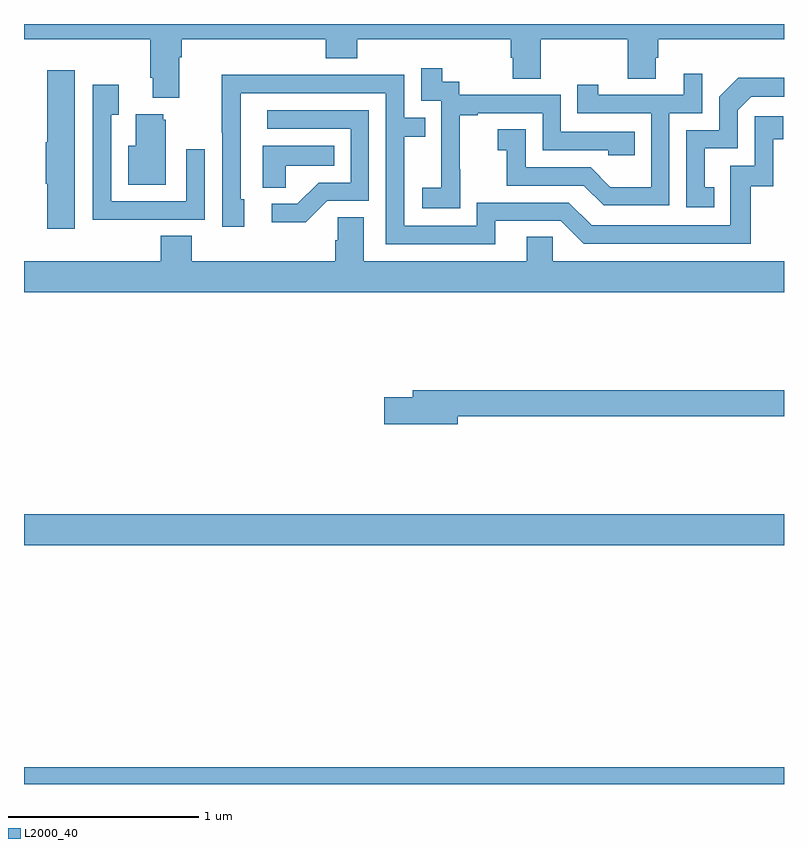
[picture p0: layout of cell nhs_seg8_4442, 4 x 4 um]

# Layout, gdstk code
import gdstk
lib = gdstk.Library(unit=1e-6, precision=1e-09)
def R(c, l, rs):  # rectangles x0, y0, x1, y1
    for r in rs: c.add(gdstk.rectangle(r[:2], r[2:], *l))
def P(c, l, *ps):  # polygons
    for p in ps: c.add(gdstk.Polygon(p, *l))
L2000_40 = (2000, 40)

nhs_seg8_4442 = lib.new_cell('nhs_seg8_4442')
R(nhs_seg8_4442, L2000_40, [(381,1125.9,385,1125.988), (381,1127.156,385,1127.32)])
P(nhs_seg8_4442, L2000_40, [(381,1129.82),(381.665,1129.82),(381.665,1129.618),(381.677,1129.618),(381.677,1129.511),(381.817,1129.511),(381.817,1129.724),(381.83,1129.724),(381.83,1129.82),(382.589,1129.82),(382.589,1129.721),(382.754,1129.721),(382.754,1129.82),(383.561,1129.82),(383.561,1129.722),(383.573,1129.722),(383.573,1129.612),(383.721,1129.612),(383.721,1129.82),(384.178,1129.82),(384.178,1129.612),(384.325,1129.612),(384.325,1129.722),(384.338,1129.722),(384.338,1129.82),(385,1129.82),(385,1129.9),(381,1129.9)],
  [(383.295,1129.135),(383.294,1129.135),(383.294,1129.419),(383.389,1129.419),(383.389,1129.431),(383.73,1129.431),(383.73,1129.236),(384.075,1129.236),(384.075,1129.209),(384.215,1129.209),(384.215,1129.332),(383.826,1129.332),(383.826,1129.527),(383.292,1129.527),(383.292,1129.596),(383.2,1129.596),(383.2,1129.666),(383.091,1129.666),(383.091,1129.497),(383.196,1129.497),(383.196,1129.268),(383.195,1129.268),(383.195,1129.039),(383.097,1129.039),(383.097,1128.929),(383.295,1128.929)],
  [(381.268,1129.657),(381.122,1129.657),(381.122,1129.277),(381.115,1129.277),(381.115,1129.06),(381.122,1129.06),(381.122,1128.822),(381.268,1128.822)],
  [(384.396,1129.431),(384.57,1129.431),(384.57,1129.639),(384.473,1129.639),(384.473,1129.527),(384.022,1129.527),(384.022,1129.579),(383.911,1129.579),(383.911,1129.431),(384.3,1129.431),(384.3,1129.042),(384.086,1129.042),(383.982,1129.146),(383.64,1129.146),(383.64,1129.345),(383.493,1129.345),(383.493,1129.235),(383.542,1129.235),(383.542,1129.05),(383.945,1129.05),(384.05,1128.945),(384.396,1128.945)],
  [(383.479,1128.864),(383.826,1128.864),(383.946,1128.744),(384.826,1128.744),(384.826,1129.047),(384.944,1129.047),(384.944,1129.293),(384.997,1129.293),(384.997,1129.414),(384.846,1129.414),(384.846,1129.155),(384.717,1129.155),(384.717,1128.84),(383.988,1128.84),(383.868,1128.96),(383.382,1128.96),(383.382,1128.837),(383.001,1128.837),(383.001,1129.306),(383.111,1129.306),(383.111,1129.407),(383.001,1129.407),(383.001,1129.632),(382.505,1129.632),(382.505,1129.634),(382.042,1129.634),(382.042,1129.327),(382.044,1129.327),(382.044,1128.834),(382.159,1128.834),(382.159,1128.978),(382.14,1128.978),(382.14,1129.536),(382.905,1129.536),(382.905,1128.741),(383.479,1128.741)],
  [(384.632,1129.041),(384.583,1129.041),(384.583,1129.245),(384.756,1129.245),(384.756,1129.446),(384.828,1129.518),(385,1129.518),(385,1129.616),(384.758,1129.616),(384.66,1129.518),(384.66,1129.341),(384.486,1129.341),(384.486,1128.936),(384.632,1128.936)],
  [(381.635,1128.87),(381.951,1128.87),(381.951,1129.24),(381.855,1129.24),(381.855,1128.966),(381.459,1128.966),(381.459,1129.423),(381.499,1129.423),(381.499,1129.579),(381.363,1129.579),(381.363,1128.869),(381.635,1128.869)],
  [(382.596,1128.969),(382.815,1128.969),(382.815,1129.446),(382.281,1129.446),(382.281,1129.35),(382.719,1129.35),(382.719,1129.065),(382.55,1129.065),(382.439,1128.954),(382.305,1128.954),(382.305,1128.857),(382.483,1128.857)],
  [(381.745,1129.395),(381.734,1129.395),(381.734,1129.426),(381.587,1129.426),(381.587,1129.258),(381.548,1129.258),(381.548,1129.055),(381.745,1129.055)],
  [(382.377,1129.154),(382.634,1129.154),(382.634,1129.258),(382.256,1129.258),(382.256,1129.039),(382.377,1129.039)],
  [(385,1128.652),(383.784,1128.652),(383.784,1128.779),(383.645,1128.779),(383.645,1128.652),(382.789,1128.652),(382.789,1128.884),(382.65,1128.884),(382.65,1128.761),(382.637,1128.761),(382.637,1128.652),(381.884,1128.652),(381.884,1128.785),(381.719,1128.785),(381.719,1128.652),(381,1128.652),(381,1128.488),(385,1128.488)],
  [(383.284,1127.836),(385,1127.836),(385,1127.972),(383.045,1127.972),(383.045,1127.936),(382.896,1127.936),(382.896,1127.794),(383.284,1127.794)])

lib.write_gds('nhs_seg8_4442.gds')
